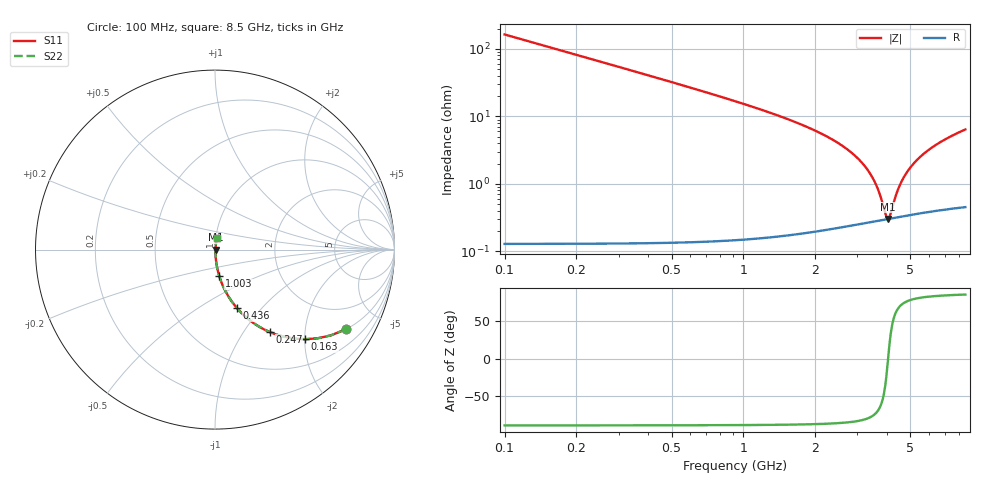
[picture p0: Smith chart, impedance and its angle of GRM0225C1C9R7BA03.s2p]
!Murata Part Number: GRM0225C1C9R7BA03
!These Parameters are Measured in Series Mode Connection
!Data Generated on Mar 30, 2021
!  o--ll--o
!Port1  Port2
!  o------o
!Operation Temp=25[degC], DC Bias Voltage=0[V]
!Freq. Start=100[MHz] Stop=9[GHz] 401[Steps]
# Hz S RI R 50
!Freq.(Hz) S11(Real) S11(Imag) S21(Real) S21(Imag) S12(Real) S12(Imag) S22(Real) S22(Imag)
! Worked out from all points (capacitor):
!   401 points, 100 MHz to 8.5 GHz, reference 50 ohm
!   read as one part in series: C = 9.7 pF near 142 MHz
!   lowest |Z| = 303 mohm at 4.027 GHz (marker M1)
!   series resonance near 4.034 GHz, so ESL is about 160 pH
!   S11 on the Smith chart (normalised r, x): 100 MHz: 1.00, -3.28; 163 MHz: 1.00, -2.01; 247 MHz: 1.00, -1.32; 436 MHz: 1.00, -0.74; 1.003 GHz: 1.00, -0.31; 8.5 GHz: 1.01, +0.13
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1e8  0.7287 -0.4442  0.2713 0.4442  0.2713 0.4442  0.7287 -0.4442
1.63e8  0.5024 -0.4994  0.4976 0.4994  0.4976 0.4994  0.5024 -0.4994
2.47e8  0.3049 -0.4594  0.6951 0.4594  0.6951 0.4594  0.3049 -0.4594
3.31e8  0.1957 -0.3954  0.8043 0.3954  0.8043 0.3954  0.1957 -0.3954
4.36e8  0.1223 -0.3259  0.8777 0.3259  0.8777 0.3259  0.1223 -0.3259
6.88e8  0.052 -0.219  0.948 0.219  0.948 0.219  0.052 -0.219
1.003e9  0.0243 -0.1492  0.9757 0.1492  0.9757 0.1492  0.0243 -0.1492
1.507e9  0.0103 -0.0921  0.9897 0.0921  0.9897 0.0921  0.0103 -0.0921
2.914e9  0.00315 -0.0264  0.9969 0.0264  0.9969 0.0264  0.00315 -0.0264
3.25e9  0.00292 -0.0174  0.9971 0.0174  0.9971 0.0174  0.00292 -0.0174
3.502e9  0.00288 -0.0113  0.9971 0.0113  0.9971 0.0113  0.00288 -0.0113
3.712e9  0.0029 -0.00662  0.9971 0.00662  0.9971 0.00662  0.0029 -0.00662
3.943e9  0.00298 -0.00182  0.997 0.00182  0.997 0.00182  0.00298 -0.00182
4.027e9  0.00301 -0.000146  0.997 0.000146  0.997 0.000146  0.00301 -0.000146
4.111e9  0.00306 0.00149  0.9969 -0.00149  0.9969 -0.00149  0.00306 0.00149
4.3e9  0.00317 0.00505  0.9968 -0.00505  0.9968 -0.00505  0.00317 0.00505
4.531e9  0.00333 0.00919  0.9967 -0.00919  0.9967 -0.00919  0.00333 0.00919
4.825e9  0.00358 0.0142  0.9964 -0.0142  0.9964 -0.0142  0.00358 0.0142
5.203e9  0.00394 0.0202  0.9961 -0.0202  0.9961 -0.0202  0.00394 0.0202
5.707e9  0.0045 0.0277  0.9955 -0.0277  0.9955 -0.0277  0.0045 0.0277
7.114e9  0.00635 0.0465  0.9936 -0.0465  0.9936 -0.0465  0.00635 0.0465
8.5e9  0.00852 0.0631  0.9915 -0.0631  0.9915 -0.0631  0.00852 0.0631
